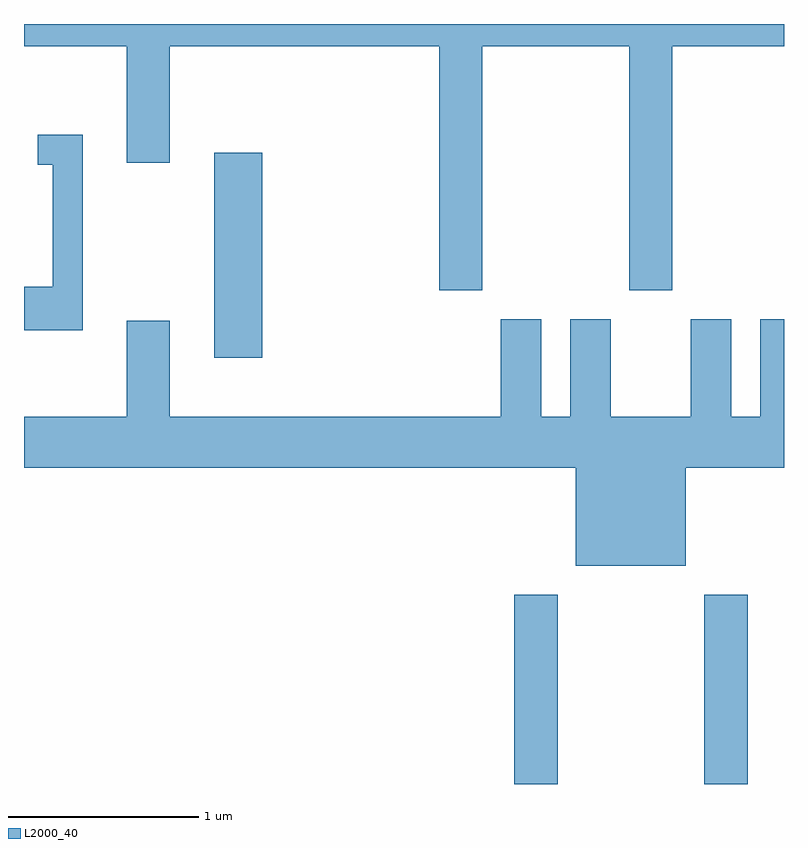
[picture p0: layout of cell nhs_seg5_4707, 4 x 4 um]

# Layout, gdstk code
import gdstk
lib = gdstk.Library(unit=1e-6, precision=1e-09)
def R(c, l, rs):  # rectangles x0, y0, x1, y1
    for r in rs: c.add(gdstk.rectangle(r[:2], r[2:], *l))
def P(c, l, *ps):  # polygons
    for p in ps: c.add(gdstk.Polygon(p, *l))
L2000_40 = (2000, 40)

nhs_seg5_4707 = lib.new_cell('nhs_seg5_4707')
R(nhs_seg5_4707, L2000_40, [(328.191,1404.072,328.419,1405.069), (329.191,1404.072,329.419,1405.069), (326.611,1406.316,326.864,1407.394)])
P(nhs_seg5_4707, L2000_40, [(328.024,1407.956),(328.796,1407.956),(328.796,1406.671),(329.024,1406.671),(329.024,1407.956),(329.611,1407.956),(329.611,1408.072),(325.611,1408.072),(325.611,1407.956),(326.151,1407.956),(326.151,1407.341),(326.379,1407.341),(326.379,1407.956),(327.796,1407.956),(327.796,1406.671),(328.024,1406.671)],
  [(325.919,1407.489),(325.683,1407.489),(325.683,1407.331),(325.761,1407.331),(325.761,1406.689),(325.611,1406.689),(325.611,1406.461),(325.919,1406.461)],
  [(329.094,1405.736),(329.611,1405.736),(329.611,1406.519),(329.486,1406.519),(329.486,1406.004),(329.334,1406.004),(329.334,1406.519),(329.121,1406.519),(329.121,1406.004),(328.699,1406.004),(328.699,1406.519),(328.486,1406.519),(328.486,1406.004),(328.334,1406.004),(328.334,1406.519),(328.121,1406.519),(328.121,1406.004),(326.379,1406.004),(326.379,1406.509),(326.151,1406.509),(326.151,1406.004),(325.611,1406.004),(325.611,1405.736),(328.516,1405.736),(328.516,1405.221),(329.094,1405.221)])

lib.write_gds('nhs_seg5_4707.gds')
